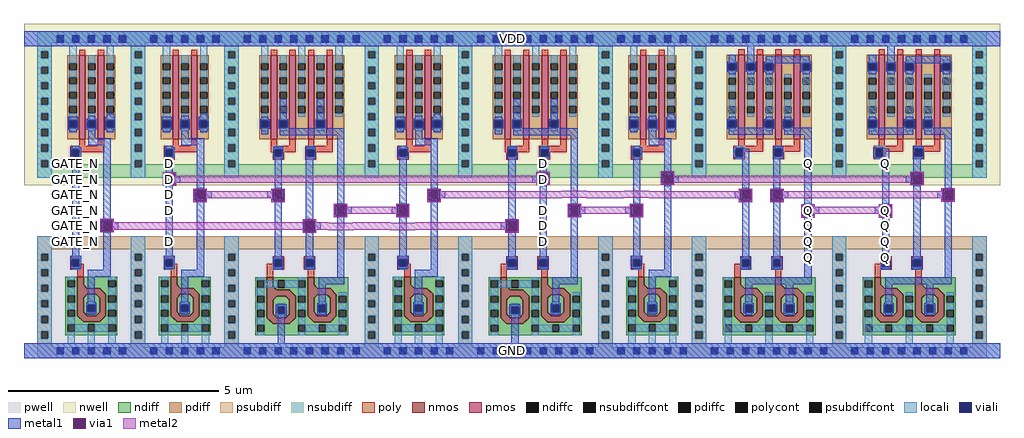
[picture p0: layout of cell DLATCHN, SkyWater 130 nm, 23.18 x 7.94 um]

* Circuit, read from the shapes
.subckt DLATCHN Q D GATE_N VDD GND
XM1 GND GATE_N n1 GND sky130_fd_pr__nfet_01v8 w=2.56 l=0.1471
XM2 GND D n2 GND sky130_fd_pr__nfet_01v8 w=2.56 l=0.1478
XM3 n3 n2 GND GND sky130_fd_pr__nfet_01v8 w=2.6 l=0.148
XM4 n3 n1 n4 GND sky130_fd_pr__nfet_01v8 w=2.56 l=0.1464
XM5 GND n4 n5 GND sky130_fd_pr__nfet_01v8 w=2.56 l=0.1471
XM6 n6 n1 GND GND sky130_fd_pr__nfet_01v8 w=2.6 l=0.148
XM7 n6 D n7 GND sky130_fd_pr__nfet_01v8 w=2.56 l=0.1463
XM8 GND n7 n8 GND sky130_fd_pr__nfet_01v8 w=2.56 l=0.1478
XM9 GND n5 Q GND sky130_fd_pr__nfet_01v8 w=2.56 l=0.1463
XM10 GND n9 Q GND sky130_fd_pr__nfet_01v8 w=2.56 l=0.1465
XM11 GND Q n9 GND sky130_fd_pr__nfet_01v8 w=2.56 l=0.1463
XM12 GND n8 n9 GND sky130_fd_pr__nfet_01v8 w=2.56 l=0.1462
XM13 n1 GATE_N VDD VDD sky130_fd_pr__pfet_01v8 w=2 l=0.15 m=2
XM14 n2 D VDD VDD sky130_fd_pr__pfet_01v8 w=2 l=0.15 m=2
XM15 n4 n2 VDD VDD sky130_fd_pr__pfet_01v8 w=2 l=0.15 m=2
XM16 n4 n1 VDD VDD sky130_fd_pr__pfet_01v8 w=2 l=0.15 m=2
XM17 n5 n4 VDD VDD sky130_fd_pr__pfet_01v8 w=2 l=0.15 m=2
XM18 n7 n1 VDD VDD sky130_fd_pr__pfet_01v8 w=2 l=0.15 m=2
XM19 n7 D VDD VDD sky130_fd_pr__pfet_01v8 w=2 l=0.15 m=2
XM20 n8 n7 VDD VDD sky130_fd_pr__pfet_01v8 w=2 l=0.15 m=2
XM21 VDD n5 n10 VDD sky130_fd_pr__pfet_01v8 w=2 l=0.15 m=2
XM22 Q n9 n10 VDD sky130_fd_pr__pfet_01v8 w=2 l=0.15 m=2
XM23 VDD Q n11 VDD sky130_fd_pr__pfet_01v8 w=2 l=0.15 m=2
XM24 n9 n8 n11 VDD sky130_fd_pr__pfet_01v8 w=2 l=0.15 m=2
.ends

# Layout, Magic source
magic
tech sky130A
magscale 1 2
<< nwell >>
rect 0 822 4636 1588
<< pwell >>
rect 155 19 189 53
rect 64 0 4572 10
<< psubdiff >>
rect 64 0 4572 10
<< nsubdiff >>
rect 64 1550 4572 1552
<< locali >>
rect 0 1482 4636 1552
rect 0 0 4636 70
<< metal1 >>
rect 0 1482 4636 1552
rect 229 907 263 941
rect 673 907 707 941
rect 2449 907 2483 941
rect 3707 907 3741 941
rect 4077 907 4111 941
rect 658 876 722 882
rect 229 833 263 867
rect 658 824 664 876
rect 716 824 722 876
rect 658 818 722 824
rect 2433 879 2497 885
rect 2433 827 2439 879
rect 2491 827 2497 879
rect 2433 821 2497 827
rect 3025 882 3089 888
rect 3025 830 3031 882
rect 3083 830 3089 882
rect 3025 824 3089 830
rect 4209 879 4273 885
rect 4209 827 4215 879
rect 4267 827 4273 879
rect 4209 821 4273 827
rect 805 799 869 805
rect 229 759 263 793
rect 673 759 707 793
rect 805 747 811 799
rect 863 747 869 799
rect 805 741 869 747
rect 1175 799 1239 805
rect 1175 747 1181 799
rect 1233 747 1239 799
rect 1175 741 1239 747
rect 1916 799 1980 805
rect 1916 747 1922 799
rect 1974 747 1980 799
rect 1916 741 1980 747
rect 3395 799 3459 805
rect 3395 747 3401 799
rect 3453 747 3459 799
rect 3395 741 3459 747
rect 3544 799 3608 805
rect 3544 747 3550 799
rect 3602 747 3608 799
rect 3544 741 3608 747
rect 4357 802 4421 808
rect 4357 750 4363 802
rect 4415 750 4421 802
rect 4357 744 4421 750
rect 3691 725 3755 731
rect 229 685 263 719
rect 673 685 707 719
rect 2449 685 2483 719
rect 3691 673 3697 725
rect 3749 673 3755 725
rect 3691 667 3755 673
rect 4061 725 4125 731
rect 4061 673 4067 725
rect 4119 673 4125 725
rect 4061 667 4125 673
rect 362 655 426 661
rect 229 611 263 645
rect 362 603 368 655
rect 420 603 426 655
rect 362 597 426 603
rect 1324 653 1388 659
rect 1324 601 1330 653
rect 1382 601 1388 653
rect 1324 595 1388 601
rect 2285 654 2349 660
rect 2285 602 2291 654
rect 2343 602 2349 654
rect 2449 611 2483 645
rect 3707 611 3741 645
rect 4077 611 4111 645
rect 2285 596 2349 602
rect 229 537 263 571
rect 673 537 707 571
rect 2449 537 2483 571
rect 3707 537 3741 571
rect 4077 537 4111 571
rect 3707 463 3741 497
rect 4077 463 4111 497
rect 0 0 4636 70
<< via1 >>
rect 664 824 716 876
rect 2439 827 2491 879
rect 3031 830 3083 882
rect 4215 827 4267 879
rect 811 747 863 799
rect 1181 747 1233 799
rect 1922 747 1974 799
rect 3401 747 3453 799
rect 3550 747 3602 799
rect 4363 750 4415 802
rect 3697 673 3749 725
rect 4067 673 4119 725
rect 368 603 420 655
rect 1330 601 1382 653
rect 2291 602 2343 654
<< metal2 >>
rect 658 876 722 882
rect 658 824 664 876
rect 716 867 722 876
rect 2433 879 2497 885
rect 2433 867 2439 879
rect 716 833 2439 867
rect 716 824 722 833
rect 658 818 722 824
rect 2433 827 2439 833
rect 2491 827 2497 879
rect 2433 821 2497 827
rect 3025 882 3089 888
rect 3025 830 3031 882
rect 3083 867 3089 882
rect 4209 879 4273 885
rect 4209 867 4215 879
rect 3083 833 4215 867
rect 3083 830 3089 833
rect 3025 824 3089 830
rect 4209 827 4215 833
rect 4267 827 4273 879
rect 4209 821 4273 827
rect 805 799 869 805
rect 805 747 811 799
rect 863 793 869 799
rect 1175 799 1239 805
rect 1175 793 1181 799
rect 863 759 1181 793
rect 863 747 869 759
rect 805 741 869 747
rect 1175 747 1181 759
rect 1233 747 1239 799
rect 1175 741 1239 747
rect 1916 799 1980 805
rect 1916 747 1922 799
rect 1974 793 1980 799
rect 3395 799 3459 805
rect 2554 793 2674 796
rect 2849 793 2969 796
rect 3395 793 3401 799
rect 1974 762 3401 793
rect 1974 759 2554 762
rect 2674 759 2849 762
rect 2969 759 3401 762
rect 1974 747 1980 759
rect 1916 741 1980 747
rect 3395 747 3401 759
rect 3453 747 3459 799
rect 3395 741 3459 747
rect 3544 799 3608 805
rect 3544 747 3550 799
rect 3602 793 3608 799
rect 4357 802 4421 808
rect 4357 793 4363 802
rect 3602 759 4363 793
rect 3602 747 3608 759
rect 3544 741 3608 747
rect 4357 750 4363 759
rect 4415 750 4421 802
rect 4357 744 4421 750
rect 3691 725 3755 731
rect 3691 673 3697 725
rect 3749 719 3755 725
rect 4061 725 4125 731
rect 4061 719 4067 725
rect 3749 685 4067 719
rect 3749 673 3755 685
rect 3691 667 3755 673
rect 4061 673 4067 685
rect 4119 673 4125 725
rect 4061 667 4125 673
rect 362 655 426 661
rect 362 603 368 655
rect 420 645 426 655
rect 1324 653 1388 659
rect 1324 645 1330 653
rect 420 611 1330 645
rect 420 603 426 611
rect 362 597 426 603
rect 1324 601 1330 611
rect 1382 645 1388 653
rect 2285 654 2349 660
rect 2285 645 2291 654
rect 1382 642 1444 645
rect 1564 642 1739 645
rect 1859 642 2291 645
rect 1382 611 2291 642
rect 1382 601 1388 611
rect 1444 608 1564 611
rect 1739 608 1859 611
rect 1324 595 1388 601
rect 2285 602 2291 611
rect 2343 602 2349 654
rect 2285 596 2349 602
use and2x1_pcell  and2x1_pcell_0
transform 1 0 986 0 1 36
box -87 -34 1197 1550
use and2x1_pcell  and2x1_pcell_1
transform 1 0 2096 0 1 36
box -87 -34 1197 1550
use invx1_pcell  invx1_pcell_0
transform 1 0 542 0 1 36
box -87 -34 531 1550
use invx1_pcell  invx1_pcell_1
transform 1 0 98 0 1 36
box -87 -34 531 1550
use li1_M1_contact  li1_M1_contact_0
transform -1 0 1356 0 -1 628
box -53 -33 29 33
use li1_M1_contact  li1_M1_contact_1
transform 1 0 2318 0 1 628
box -53 -33 29 33
use li1_M1_contact  li1_M1_contact_2
transform -1 0 690 0 -1 850
box -53 -33 29 33
use li1_M1_contact  li1_M1_contact_3
transform -1 0 838 0 -1 776
box -53 -33 29 33
use li1_M1_contact  li1_M1_contact_4
transform 1 0 2466 0 1 850
box -53 -33 29 33
use li1_M1_contact  li1_M1_contact_5
transform 1 0 1208 0 1 776
box -53 -33 29 33
use li1_M1_contact  li1_M1_contact_6
transform -1 0 1948 0 -1 776
box -53 -33 29 33
use li1_M1_contact  li1_M1_contact_7
transform 1 0 3428 0 1 776
box -53 -33 29 33
use li1_M1_contact  li1_M1_contact_8
transform 1 0 4242 0 1 850
box -53 -33 29 33
use li1_M1_contact  li1_M1_contact_9
transform -1 0 3058 0 -1 850
box -53 -33 29 33
use li1_M1_contact  li1_M1_contact_10
transform 1 0 4390 0 1 776
box -53 -33 29 33
use li1_M1_contact  li1_M1_contact_11
transform -1 0 3576 0 -1 776
box -53 -33 29 33
use li1_M1_contact  li1_M1_contact_12
transform 1 0 4094 0 1 702
box -53 -33 29 33
use li1_M1_contact  li1_M1_contact_13
transform -1 0 3724 0 -1 702
box -53 -33 29 33
use li1_M1_contact  li1_M1_contact_14
transform -1 0 394 0 -1 628
box -53 -33 29 33
use nor2x1_pcell  nor2x1_pcell_0
transform 1 0 3206 0 1 36
box -87 -34 753 1550
use nor2x1_pcell  nor2x1_pcell_1
transform 1 0 3872 0 1 36
box -87 -34 753 1550
<< labels >>
rlabel metal1 3707 685 3741 719 1 Q
port 1 nsew signal output
rlabel metal1 3707 611 3741 645 1 Q
port 1 nsew signal output
rlabel metal1 3707 537 3741 571 1 Q
port 1 nsew signal output
rlabel metal1 3707 463 3741 497 1 Q
port 1 nsew signal output
rlabel metal1 3707 907 3741 941 1 Q
port 1 nsew signal output
rlabel metal1 4077 463 4111 497 1 Q
port 1 nsew signal output
rlabel metal1 4077 537 4111 571 1 Q
port 1 nsew signal output
rlabel metal1 4077 611 4111 645 1 Q
port 1 nsew signal output
rlabel metal1 4077 685 4111 719 1 Q
port 1 nsew signal output
rlabel metal1 4077 907 4111 941 1 Q
port 1 nsew signal output
rlabel metal1 673 833 707 867 1 D
port 2 nsew signal input
rlabel metal1 673 907 707 941 1 D
port 2 nsew signal input
rlabel metal1 673 759 707 793 1 D
port 2 nsew signal input
rlabel metal1 673 685 707 719 1 D
port 2 nsew signal input
rlabel metal1 673 537 707 571 1 D
port 2 nsew signal input
rlabel metal1 2449 685 2483 719 1 D
port 2 nsew signal input
rlabel metal1 2449 833 2483 867 1 D
port 2 nsew signal input
rlabel metal1 2449 907 2483 941 1 D
port 2 nsew signal input
rlabel metal1 2449 611 2483 645 1 D
port 2 nsew signal input
rlabel metal1 2449 537 2483 571 1 D
port 2 nsew signal input
rlabel metal1 229 611 263 645 1 GATE_N
port 3 nsew signal input
rlabel metal1 229 537 263 571 1 GATE_N
port 3 nsew signal input
rlabel metal1 229 685 263 719 1 GATE_N
port 3 nsew signal input
rlabel metal1 229 759 263 793 1 GATE_N
port 3 nsew signal input
rlabel metal1 229 833 263 867 1 GATE_N
port 3 nsew signal input
rlabel metal1 229 907 263 941 1 GATE_N
port 3 nsew signal input
rlabel metal1 0 1482 4636 1552 1 VDD
port 4 nsew power bidirectional abutment
rlabel metal1 0 0 4636 70 1 GND
port 5 nsew ground bidirectional abutment
<< properties >>
string FIXED_BBOX 0 0 4636 1552
string LEFclass CORE
string LEFsite unitrh
string LEFsymmetry X Y
<< end >>

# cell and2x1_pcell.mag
magic
tech sky130A
magscale 1 2
<< metal1 >>
rect 486 692 550 698
rect 486 640 492 692
rect 544 640 550 692
rect 486 634 550 640
rect 781 692 845 698
rect 781 640 787 692
rect 839 640 845 692
rect 781 634 845 640
<< via1 >>
rect 492 640 544 692
rect 787 640 839 692
<< metal2 >>
rect 486 692 550 698
rect 486 640 492 692
rect 544 683 550 692
rect 781 692 845 698
rect 781 683 787 692
rect 544 649 787 683
rect 544 640 550 649
rect 486 634 550 640
rect 781 640 787 649
rect 839 640 845 692
rect 781 634 845 640
use invx1_pcell  invx1_pcell_0
transform 1 0 666 0 1 0
box -87 -34 531 1550
use li1_M1_contact  li1_M1_contact_0
transform -1 0 518 0 -1 666
box -53 -33 29 33
use li1_M1_contact  li1_M1_contact_1
transform 1 0 814 0 1 666
box -53 -33 29 33
use nand2x1_pcell  nand2x1_pcell_0
transform 1 0 0 0 1 0
box -87 -34 753 1550
<< end >>

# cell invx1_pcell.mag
magic
tech sky130A
magscale 1 2
<< nwell >>
rect -87 786 531 1550
<< pwell >>
rect -34 -34 478 544
<< pdiffc >>
rect 118 1059 152 1093
rect 206 1059 240 1093
rect 294 1059 328 1093
<< psubdiff >>
rect 34 482 410 544
rect 34 -17 57 17
rect 91 -17 131 17
rect 165 -17 205 17
rect 239 -17 279 17
rect 313 -17 353 17
rect 387 -17 410 17
rect 34 -34 410 -17
<< nsubdiff >>
rect 34 1497 410 1514
rect 34 1463 57 1497
rect 91 1463 131 1497
rect 165 1463 205 1497
rect 239 1463 279 1497
rect 313 1463 353 1497
rect 387 1463 410 1497
rect 34 822 410 884
<< psubdiffcont >>
rect 57 -17 91 17
rect 131 -17 165 17
rect 205 -17 239 17
rect 279 -17 313 17
rect 353 -17 387 17
<< nsubdiffcont >>
rect 57 1463 91 1497
rect 131 1463 165 1497
rect 205 1463 239 1497
rect 279 1463 313 1497
rect 353 1463 387 1497
<< poly >>
rect 155 381 185 413
<< locali >>
rect -34 1497 478 1514
rect -34 1463 57 1497
rect 91 1463 131 1497
rect 165 1463 205 1497
rect 239 1463 279 1497
rect 313 1463 353 1497
rect 387 1463 478 1497
rect -34 1446 478 1463
rect 118 1093 152 1117
rect 118 1043 152 1059
rect 206 1093 240 1117
rect 206 1043 240 1059
rect 294 1093 328 1117
rect 294 1043 328 1059
rect 109 34 143 84
rect 205 34 239 90
rect 303 34 337 90
rect -34 17 466 34
rect -34 -17 57 17
rect 91 -17 131 17
rect 165 -17 205 17
rect 239 -17 279 17
rect 313 -17 353 17
rect 387 -17 466 17
rect -34 -34 466 -17
<< viali >>
rect 57 1463 91 1497
rect 131 1463 165 1497
rect 205 1463 239 1497
rect 279 1463 313 1497
rect 353 1463 387 1497
rect 118 1059 152 1093
rect 206 1059 240 1093
rect 294 1059 328 1093
rect 131 923 165 957
rect 131 400 165 434
rect 205 184 239 218
rect 57 -17 91 17
rect 131 -17 165 17
rect 205 -17 239 17
rect 279 -17 313 17
rect 353 -17 387 17
<< metal1 >>
rect -34 1497 478 1514
rect -34 1463 57 1497
rect 91 1463 131 1497
rect 165 1463 205 1497
rect 239 1463 279 1497
rect 313 1463 353 1497
rect 387 1463 478 1497
rect -34 1446 478 1463
rect 112 1093 159 1111
rect 206 1101 240 1115
rect 294 1111 328 1124
rect 112 1059 118 1093
rect 152 1059 159 1093
rect 112 1048 159 1059
rect 200 1093 246 1101
rect 200 1059 206 1093
rect 240 1059 246 1093
rect 200 1048 246 1059
rect 288 1093 335 1111
rect 288 1059 294 1093
rect 328 1059 335 1093
rect 288 1048 335 1059
rect 118 1037 152 1048
rect 206 1009 240 1048
rect 294 1037 328 1048
rect 206 975 313 1009
rect 131 966 165 973
rect 124 957 174 966
rect 124 923 131 957
rect 165 923 174 957
rect 124 916 174 923
rect 131 450 165 916
rect 123 434 173 450
rect 123 400 131 434
rect 165 400 173 434
rect 123 388 173 400
rect 279 385 313 975
rect 205 351 313 385
rect 205 230 239 351
rect 198 218 246 230
rect 198 184 205 218
rect 239 184 246 218
rect 198 172 246 184
rect -34 17 478 34
rect -34 -17 57 17
rect 91 -17 131 17
rect 165 -17 205 17
rect 239 -17 279 17
rect 313 -17 353 17
rect 387 -17 478 17
rect -34 -34 478 -17
use diff_ring_side  diff_ring_side_0
transform 1 0 444 0 1 0
box -87 -34 87 1550
use diff_ring_side  diff_ring_side_1
transform 1 0 0 0 1 0
box -87 -34 87 1550
use nmos_top  nmos_top_0
transform -1 0 345 0 1 74
box 0 0 246 308
use pmos2  pmos2_0
transform 1 0 20 0 1 1404
box 52 -461 352 42
use poly_li1_contact  poly_li1_contact_0
transform 0 1 149 -1 0 941
box -32 -28 34 26
use poly_li1_contact  poly_li1_contact_1
transform 0 -1 147 1 0 416
box -32 -28 34 26
<< end >>

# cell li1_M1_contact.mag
magic
tech sky130A
magscale 1 2
<< locali >>
rect -17 17 17 33
rect -17 -33 17 -17
<< viali >>
rect -17 -17 17 17
<< metal1 >>
rect -23 17 23 23
rect -53 -17 -17 17
rect 17 -17 29 17
rect -23 -23 23 -17
<< end >>

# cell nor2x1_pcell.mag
magic
tech sky130A
magscale 1 2
<< nwell >>
rect 87 786 579 1550
<< pwell >>
rect 34 -34 632 544
<< pdiff >>
rect 141 1043 175 1059
rect 317 1043 351 1050
rect 405 1043 439 1050
<< pdiffc >>
rect 141 1331 175 1365
rect 229 1331 263 1365
rect 317 1331 351 1365
rect 493 1331 527 1365
rect 141 1059 175 1093
rect 317 1059 351 1093
rect 405 1059 439 1093
<< psubdiff >>
rect 34 482 632 544
rect 34 -17 57 17
rect 91 -17 131 17
rect 165 -17 205 17
rect 239 -17 279 17
rect 313 -17 353 17
rect 387 -17 427 17
rect 461 -17 501 17
rect 535 -17 575 17
rect 609 -17 632 17
rect 34 -34 632 -17
<< nsubdiff >>
rect 34 1497 632 1514
rect 34 1463 57 1497
rect 91 1463 131 1497
rect 165 1463 205 1497
rect 239 1463 279 1497
rect 313 1463 353 1497
rect 387 1463 427 1497
rect 461 1463 501 1497
rect 535 1463 575 1497
rect 609 1463 632 1497
rect 34 822 632 884
<< psubdiffcont >>
rect 57 -17 91 17
rect 131 -17 165 17
rect 205 -17 239 17
rect 279 -17 313 17
rect 353 -17 387 17
rect 427 -17 461 17
rect 501 -17 535 17
rect 575 -17 609 17
<< nsubdiffcont >>
rect 57 1463 91 1497
rect 131 1463 165 1497
rect 205 1463 239 1497
rect 279 1463 313 1497
rect 353 1463 387 1497
rect 427 1463 461 1497
rect 501 1463 535 1497
rect 575 1463 609 1497
<< poly >>
rect 168 375 198 413
rect 362 382 392 383
<< locali >>
rect -34 1497 667 1514
rect -34 1463 57 1497
rect 91 1463 131 1497
rect 165 1463 205 1497
rect 239 1463 279 1497
rect 313 1463 353 1497
rect 387 1463 427 1497
rect 461 1463 501 1497
rect 535 1463 575 1497
rect 609 1463 667 1497
rect -34 1446 667 1463
rect 141 1365 175 1405
rect 141 1312 175 1331
rect 229 1365 263 1405
rect 229 1229 263 1331
rect 317 1365 351 1381
rect 317 1229 351 1331
rect 493 1365 527 1381
rect 493 1229 527 1331
rect 141 1093 175 1195
rect 141 1043 175 1059
rect 317 1093 351 1195
rect 317 1043 351 1059
rect 405 1093 439 1195
rect 405 1043 439 1059
rect 122 34 156 157
rect 316 34 350 89
rect 510 34 544 89
rect 33 17 657 34
rect 33 -17 57 17
rect 91 -17 131 17
rect 165 -17 205 17
rect 239 -17 279 17
rect 313 -17 353 17
rect 387 -17 427 17
rect 461 -17 501 17
rect 535 -17 575 17
rect 609 -17 657 17
rect 33 -34 657 -17
<< viali >>
rect 57 1463 91 1497
rect 131 1463 165 1497
rect 205 1463 239 1497
rect 279 1463 313 1497
rect 353 1463 387 1497
rect 427 1463 461 1497
rect 501 1463 535 1497
rect 575 1463 609 1497
rect 141 1331 175 1365
rect 229 1331 263 1365
rect 317 1331 351 1365
rect 493 1331 527 1365
rect 141 1059 175 1093
rect 317 1059 351 1093
rect 405 1059 439 1093
rect 174 924 208 958
rect 360 924 394 958
rect 205 399 239 433
rect 353 399 387 433
rect 219 183 253 217
rect 413 183 447 217
rect 57 -17 91 17
rect 131 -17 165 17
rect 205 -17 239 17
rect 279 -17 313 17
rect 353 -17 387 17
rect 427 -17 461 17
rect 501 -17 535 17
rect 575 -17 609 17
<< metal1 >>
rect 34 1497 632 1514
rect 34 1463 57 1497
rect 91 1463 131 1497
rect 165 1463 205 1497
rect 239 1463 279 1497
rect 313 1463 353 1497
rect 387 1463 427 1497
rect 461 1463 501 1497
rect 535 1463 575 1497
rect 609 1463 632 1497
rect 34 1446 632 1463
rect 141 1372 175 1405
rect 135 1365 181 1372
rect 229 1371 263 1446
rect 317 1375 527 1399
rect 317 1371 533 1375
rect 135 1331 141 1365
rect 175 1331 181 1365
rect 135 1325 181 1331
rect 223 1365 269 1371
rect 223 1331 229 1365
rect 263 1331 269 1365
rect 223 1325 269 1331
rect 311 1365 533 1371
rect 311 1331 317 1365
rect 351 1331 357 1365
rect 141 1313 175 1325
rect 229 1313 263 1325
rect 311 1323 357 1331
rect 484 1331 493 1365
rect 527 1331 533 1365
rect 484 1324 533 1331
rect 317 1313 351 1323
rect 493 1313 527 1324
rect 141 1100 175 1111
rect 135 1093 181 1100
rect 317 1099 351 1111
rect 405 1099 439 1111
rect 135 1059 141 1093
rect 175 1059 181 1093
rect 310 1093 358 1099
rect 310 1059 317 1093
rect 351 1059 358 1093
rect 135 1053 358 1059
rect 397 1093 445 1099
rect 397 1059 405 1093
rect 439 1059 445 1093
rect 141 1025 351 1053
rect 397 1052 535 1059
rect 405 1025 535 1052
rect 162 958 217 964
rect 353 958 401 971
rect 162 924 174 958
rect 208 924 239 958
rect 162 917 239 924
rect 205 443 239 917
rect 353 924 360 958
rect 394 924 401 958
rect 353 912 401 924
rect 353 443 387 912
rect 197 433 246 443
rect 197 399 205 433
rect 239 399 246 433
rect 197 387 246 399
rect 344 433 395 443
rect 344 399 353 433
rect 387 399 395 433
rect 344 387 395 399
rect 501 348 535 1025
rect 219 314 535 348
rect 219 225 253 314
rect 211 217 260 225
rect 413 224 447 314
rect 211 183 219 217
rect 253 183 260 217
rect 211 177 260 183
rect 403 217 456 224
rect 403 183 413 217
rect 447 183 456 217
rect 219 167 253 177
rect 403 176 456 183
rect 413 167 447 176
rect 34 17 632 34
rect 34 -17 57 17
rect 91 -17 131 17
rect 165 -17 205 17
rect 239 -17 279 17
rect 313 -17 353 17
rect 387 -17 427 17
rect 461 -17 501 17
rect 535 -17 575 17
rect 609 -17 632 17
rect 34 -34 632 -17
use diff_ring_side  diff_ring_side_0
transform 1 0 666 0 1 0
box -87 -34 87 1550
use diff_ring_side  diff_ring_side_1
transform 1 0 0 0 1 0
box -87 -34 87 1550
use nmos_top_trim1  nmos_top_trim1_1
transform -1 0 360 0 1 73
box 0 0 248 309
use nmos_top_trim2  nmos_top_trim2_0
transform -1 0 554 0 1 73
box 0 0 248 309
use pmos2_1  pmos2_1_0
transform 1 0 43 0 1 1404
box 52 -460 352 37
use pmos2_1  pmos2_1_1
transform 1 0 219 0 1 1404
box 52 -460 352 37
use poly_li1_contact  poly_li1_contact_0
transform 0 1 192 -1 0 942
box -32 -28 34 26
use poly_li1_contact  poly_li1_contact_1
transform 0 1 223 -1 0 417
box -32 -28 34 26
use poly_li1_contact  poly_li1_contact_2
transform 0 -1 369 1 0 415
box -32 -28 34 26
use poly_li1_contact  poly_li1_contact_3
transform 0 1 378 -1 0 942
box -32 -28 34 26
<< end >>

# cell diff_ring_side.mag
magic
tech sky130A
magscale 1 2
<< nwell >>
rect -87 786 87 1550
<< pwell >>
rect -34 -34 34 544
<< psubdiff >>
rect -34 461 34 544
rect -34 427 -17 461
rect 17 427 34 461
rect -34 387 34 427
rect -34 353 -17 387
rect 17 353 34 387
rect -34 313 34 353
rect -34 279 -17 313
rect 17 279 34 313
rect -34 239 34 279
rect -34 205 -17 239
rect 17 205 34 239
rect -34 165 34 205
rect -34 131 -17 165
rect 17 131 34 165
rect -34 91 34 131
rect -34 57 -17 91
rect 17 57 34 91
rect -34 -34 34 57
<< nsubdiff >>
rect -34 1423 34 1514
rect -34 1389 -17 1423
rect 17 1389 34 1423
rect -34 1349 34 1389
rect -34 1315 -17 1349
rect 17 1315 34 1349
rect -34 1275 34 1315
rect -34 1241 -17 1275
rect 17 1241 34 1275
rect -34 1201 34 1241
rect -34 1167 -17 1201
rect 17 1167 34 1201
rect -34 1127 34 1167
rect -34 1093 -17 1127
rect 17 1093 34 1127
rect -34 1053 34 1093
rect -34 1019 -17 1053
rect 17 1019 34 1053
rect -34 979 34 1019
rect -34 945 -17 979
rect 17 945 34 979
rect -34 905 34 945
rect -34 871 -17 905
rect 17 871 34 905
rect -34 822 34 871
<< psubdiffcont >>
rect -17 427 17 461
rect -17 353 17 387
rect -17 279 17 313
rect -17 205 17 239
rect -17 131 17 165
rect -17 57 17 91
<< nsubdiffcont >>
rect -17 1389 17 1423
rect -17 1315 17 1349
rect -17 1241 17 1275
rect -17 1167 17 1201
rect -17 1093 17 1127
rect -17 1019 17 1053
rect -17 945 17 979
rect -17 871 17 905
<< locali >>
rect -34 1423 34 1514
rect -34 1389 -17 1423
rect 17 1389 34 1423
rect -34 1349 34 1389
rect -34 1315 -17 1349
rect 17 1315 34 1349
rect -34 1275 34 1315
rect -34 1241 -17 1275
rect 17 1241 34 1275
rect -34 1201 34 1241
rect -34 1167 -17 1201
rect 17 1167 34 1201
rect -34 1127 34 1167
rect -34 1093 -17 1127
rect 17 1093 34 1127
rect -34 1053 34 1093
rect -34 1019 -17 1053
rect 17 1019 34 1053
rect -34 979 34 1019
rect -34 945 -17 979
rect 17 945 34 979
rect -34 905 34 945
rect -34 871 -17 905
rect 17 871 34 905
rect -34 822 34 871
rect -34 461 34 544
rect -34 427 -17 461
rect 17 427 34 461
rect -34 387 34 427
rect -34 353 -17 387
rect 17 353 34 387
rect -34 313 34 353
rect -34 279 -17 313
rect 17 279 34 313
rect -34 239 34 279
rect -34 205 -17 239
rect 17 205 34 239
rect -34 165 34 205
rect -34 131 -17 165
rect 17 131 34 165
rect -34 91 34 131
rect -34 57 -17 91
rect 17 57 34 91
rect -34 -34 34 57
<< metal1 >>
rect -34 1446 34 1514
rect -34 -34 34 34
<< end >>

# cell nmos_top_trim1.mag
magic
tech sky130
magscale 1 2
<< nmos >>
tri 146 223 162 239 se
rect 162 223 192 276
tri 56 193 86 223 se
rect 86 193 192 223
rect 56 92 86 193
tri 86 177 102 193 nw
tri 146 177 162 193 ne
tri 86 92 102 108 sw
tri 146 92 162 108 se
rect 162 92 192 193
tri 56 62 86 92 ne
rect 86 62 162 92
tri 162 62 192 92 nw
<< ndiff >>
rect 0 239 162 276
rect 0 223 146 239
tri 146 223 162 239 nw
rect 192 260 248 276
rect 192 226 204 260
rect 238 226 248 260
rect 0 188 56 223
tri 56 193 86 223 nw
rect 0 154 10 188
rect 44 154 56 188
rect 0 120 56 154
rect 0 86 10 120
rect 44 86 56 120
tri 86 177 102 193 se
rect 102 177 146 193
tri 146 177 162 193 sw
rect 86 144 162 177
rect 86 110 107 144
rect 141 110 162 144
rect 86 108 162 110
tri 86 92 102 108 ne
rect 102 92 146 108
tri 146 92 162 108 nw
rect 192 188 248 226
rect 192 154 204 188
rect 238 154 248 188
rect 192 120 248 154
rect 0 62 56 86
tri 56 62 86 92 sw
tri 162 62 192 92 se
rect 192 86 204 120
rect 238 86 248 120
rect 192 62 248 86
rect 0 50 248 62
rect 0 16 10 50
rect 44 16 107 50
rect 141 16 204 50
rect 238 16 248 50
rect 0 0 248 16
<< ndiffc >>
rect 204 226 238 260
rect 10 154 44 188
rect 10 86 44 120
rect 107 110 141 144
rect 204 154 238 188
rect 204 86 238 120
rect 10 16 44 50
rect 107 16 141 50
rect 204 16 238 50
<< poly >>
rect 162 276 192 309
<< locali >>
rect 204 260 238 276
rect 10 188 44 204
rect 204 188 238 226
rect 10 120 44 154
rect 107 144 141 161
rect 107 94 141 110
rect 204 120 238 154
rect 10 50 44 86
rect 204 50 238 86
rect 44 16 107 50
rect 141 16 204 50
rect 10 0 44 16
rect 204 0 238 16
<< end >>

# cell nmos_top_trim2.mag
magic
tech sky130
magscale 1 2
<< nmos >>
tri 146 223 162 239 se
rect 162 223 192 276
tri 56 193 86 223 se
rect 86 193 192 223
rect 56 178 87 193
tri 87 178 102 193 nw
tri 146 178 161 193 ne
rect 161 178 192 193
rect 56 92 86 178
tri 86 92 102 108 sw
tri 146 92 162 108 se
rect 162 92 192 178
tri 56 62 86 92 ne
rect 86 62 162 92
tri 162 62 192 92 nw
<< ndiff >>
rect 0 239 162 276
rect 0 223 146 239
tri 146 223 162 239 nw
rect 0 188 56 223
tri 56 193 86 223 nw
rect 0 154 10 188
rect 44 154 56 188
tri 87 178 102 193 se
rect 102 178 146 193
tri 146 178 161 193 sw
rect 192 188 248 276
rect 0 120 56 154
rect 0 86 10 120
rect 44 86 56 120
rect 86 144 162 178
rect 86 110 107 144
rect 141 110 162 144
rect 86 108 162 110
tri 86 92 102 108 ne
rect 102 92 146 108
tri 146 92 162 108 nw
rect 192 154 204 188
rect 238 154 248 188
rect 192 120 248 154
rect 0 62 56 86
tri 56 62 86 92 sw
tri 162 62 192 92 se
rect 192 86 204 120
rect 238 86 248 120
rect 192 62 248 86
rect 0 50 248 62
rect 0 16 10 50
rect 44 16 107 50
rect 141 16 204 50
rect 238 16 248 50
rect 0 0 248 16
<< ndiffc >>
rect 10 154 44 188
rect 10 86 44 120
rect 107 110 141 144
rect 204 154 238 188
rect 204 86 238 120
rect 10 16 44 50
rect 107 16 141 50
rect 204 16 238 50
<< poly >>
rect 162 276 192 309
<< locali >>
rect 10 188 44 205
rect 204 188 238 205
rect 10 120 44 154
rect 107 144 141 161
rect 107 94 141 110
rect 204 120 238 154
rect 10 50 44 86
rect 204 50 238 86
rect 44 16 107 50
rect 141 16 204 50
rect 10 0 44 16
rect 204 0 238 16
<< end >>

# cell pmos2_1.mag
magic
tech sky130A
magscale 1 2
<< nwell >>
rect 52 -435 352 37
<< pmos >>
rect 144 -399 174 1
rect 232 -399 262 1
<< pdiff >>
rect 88 -107 144 1
rect 88 -141 98 -107
rect 132 -141 144 -107
rect 88 -175 144 -141
rect 88 -209 98 -175
rect 132 -209 144 -175
rect 88 -243 144 -209
rect 88 -277 98 -243
rect 132 -277 144 -243
rect 88 -399 144 -277
rect 174 -107 232 1
rect 174 -141 186 -107
rect 220 -141 232 -107
rect 174 -175 232 -141
rect 174 -209 186 -175
rect 220 -209 232 -175
rect 174 -243 232 -209
rect 174 -277 186 -243
rect 220 -277 232 -243
rect 174 -399 232 -277
rect 262 -107 316 1
rect 262 -141 274 -107
rect 308 -141 316 -107
rect 262 -175 316 -141
rect 262 -209 274 -175
rect 308 -209 316 -175
rect 262 -243 316 -209
rect 262 -277 274 -243
rect 308 -277 316 -243
rect 262 -399 316 -277
<< pdiffc >>
rect 98 -141 132 -107
rect 98 -209 132 -175
rect 98 -277 132 -243
rect 186 -141 220 -107
rect 186 -209 220 -175
rect 186 -277 220 -243
rect 274 -141 308 -107
rect 274 -209 308 -175
rect 274 -277 308 -243
<< poly >>
rect 144 1 174 27
rect 232 1 262 27
rect 144 -430 174 -399
rect 232 -430 262 -399
rect 144 -460 262 -430
<< locali >>
rect 98 -107 132 -91
rect 98 -175 132 -141
rect 98 -243 132 -209
rect 98 -293 132 -277
rect 186 -107 220 -91
rect 186 -175 220 -141
rect 186 -243 220 -209
rect 186 -293 220 -277
rect 274 -107 308 -91
rect 274 -175 308 -141
rect 274 -243 308 -209
rect 274 -293 308 -277
<< end >>

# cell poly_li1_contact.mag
magic
tech sky130
<< poly >>
rect -16 8 17 13
rect -16 -9 -8 8
rect 9 -9 17 8
rect -16 -14 17 -9
<< polycont >>
rect -8 -9 9 8
<< locali >>
rect -16 -9 -8 8
rect 9 -9 17 8
<< end >>

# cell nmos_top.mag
magic
tech sky130
magscale 1 2
<< nmos >>
tri 144 223 160 239 se
rect 160 223 190 276
tri 54 193 84 223 se
rect 84 193 190 223
rect 54 92 84 193
tri 84 177 100 193 nw
tri 144 177 160 193 ne
tri 84 92 100 108 sw
tri 144 92 160 108 se
rect 160 92 190 193
tri 54 62 84 92 ne
rect 84 62 160 92
tri 160 62 190 92 nw
<< ndiff >>
rect 0 260 160 276
rect 0 226 8 260
rect 42 239 160 260
rect 42 226 144 239
rect 0 223 144 226
tri 144 223 160 239 nw
rect 190 260 246 276
rect 190 226 202 260
rect 236 226 246 260
rect 0 188 54 223
tri 54 193 84 223 nw
rect 0 154 8 188
rect 42 154 54 188
rect 0 120 54 154
rect 0 86 8 120
rect 42 86 54 120
tri 84 177 100 193 se
rect 100 177 144 193
tri 144 177 160 193 sw
rect 84 144 160 177
rect 84 110 106 144
rect 140 110 160 144
rect 84 108 160 110
tri 84 92 100 108 ne
rect 100 92 144 108
tri 144 92 160 108 nw
rect 190 188 246 226
rect 190 154 202 188
rect 236 154 246 188
rect 190 120 246 154
rect 0 62 54 86
tri 54 62 84 92 sw
tri 160 62 190 92 se
rect 190 86 202 120
rect 236 86 246 120
rect 190 62 246 86
rect 0 50 246 62
rect 0 16 8 50
rect 42 16 106 50
rect 140 16 202 50
rect 236 16 246 50
rect 0 0 246 16
<< ndiffc >>
rect 8 226 42 260
rect 202 226 236 260
rect 8 154 42 188
rect 8 86 42 120
rect 106 110 140 144
rect 202 154 236 188
rect 202 86 236 120
rect 8 16 42 50
rect 106 16 140 50
rect 202 16 236 50
<< poly >>
rect 160 276 190 308
<< locali >>
rect 8 260 42 276
rect 8 188 42 226
rect 202 260 236 276
rect 202 188 236 226
rect 8 120 42 154
rect 106 144 140 161
rect 106 94 140 110
rect 202 120 236 154
rect 8 50 42 86
rect 202 50 236 86
rect 42 16 106 50
rect 140 16 202 50
rect 8 0 42 16
rect 202 0 236 16
<< end >>

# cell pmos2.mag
magic
tech sky130A
magscale 1 2
<< nwell >>
rect 52 -436 352 36
<< pmos >>
rect 144 -400 174 0
rect 232 -400 262 0
<< pdiff >>
rect 88 -38 144 0
rect 88 -72 98 -38
rect 132 -72 144 -38
rect 88 -106 144 -72
rect 88 -140 98 -106
rect 132 -140 144 -106
rect 88 -174 144 -140
rect 88 -208 98 -174
rect 132 -208 144 -174
rect 88 -242 144 -208
rect 88 -276 98 -242
rect 132 -276 144 -242
rect 88 -400 144 -276
rect 174 -38 232 0
rect 174 -72 186 -38
rect 220 -72 232 -38
rect 174 -106 232 -72
rect 174 -140 186 -106
rect 220 -140 232 -106
rect 174 -174 232 -140
rect 174 -208 186 -174
rect 220 -208 232 -174
rect 174 -242 232 -208
rect 174 -276 186 -242
rect 220 -276 232 -242
rect 174 -400 232 -276
rect 262 -38 316 0
rect 262 -72 274 -38
rect 308 -72 316 -38
rect 262 -106 316 -72
rect 262 -140 274 -106
rect 308 -140 316 -106
rect 262 -174 316 -140
rect 262 -208 274 -174
rect 308 -208 316 -174
rect 262 -242 316 -208
rect 262 -276 274 -242
rect 308 -276 316 -242
rect 262 -400 316 -276
<< pdiffc >>
rect 98 -72 132 -38
rect 98 -140 132 -106
rect 98 -208 132 -174
rect 98 -276 132 -242
rect 186 -72 220 -38
rect 186 -140 220 -106
rect 186 -208 220 -174
rect 186 -276 220 -242
rect 274 -72 308 -38
rect 274 -140 308 -106
rect 274 -208 308 -174
rect 274 -276 308 -242
<< poly >>
rect 144 0 174 26
rect 232 0 262 26
rect 144 -431 174 -400
rect 232 -431 262 -400
rect 144 -461 262 -431
<< locali >>
rect 98 -38 132 42
rect 98 -106 132 -72
rect 98 -174 132 -140
rect 98 -242 132 -208
rect 98 -293 132 -276
rect 186 -38 220 0
rect 186 -106 220 -72
rect 186 -174 220 -140
rect 186 -242 220 -208
rect 186 -293 220 -276
rect 274 -38 308 42
rect 274 -106 308 -72
rect 274 -174 308 -140
rect 274 -242 308 -208
rect 274 -293 308 -276
<< end >>

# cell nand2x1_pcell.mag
magic
tech sky130A
magscale 1 2
<< nwell >>
rect 87 786 579 1550
<< pwell >>
rect 34 542 632 544
rect -31 -30 697 542
rect 34 -34 632 -30
<< pdiff >>
rect 223 1093 269 1100
rect 223 1059 229 1093
rect 263 1059 269 1093
rect 223 1053 269 1059
rect 399 1093 445 1100
rect 399 1059 405 1093
rect 439 1059 445 1093
rect 399 1053 445 1059
<< pdiffc >>
rect 141 1059 175 1093
rect 229 1059 263 1093
rect 405 1059 439 1093
<< psubdiff >>
rect 34 542 632 544
rect 31 482 635 542
rect 31 480 34 482
rect 632 480 635 482
rect 31 -17 57 17
rect 91 -17 131 17
rect 165 -17 205 17
rect 239 -17 279 17
rect 313 -17 353 17
rect 387 -17 427 17
rect 461 -17 501 17
rect 535 -17 575 17
rect 609 -17 635 17
rect 31 -30 635 -17
rect 34 -34 632 -30
<< nsubdiff >>
rect 34 1497 632 1514
rect 34 1463 57 1497
rect 91 1463 131 1497
rect 165 1463 205 1497
rect 239 1463 279 1497
rect 313 1463 353 1497
rect 387 1463 427 1497
rect 461 1463 501 1497
rect 535 1463 575 1497
rect 609 1463 632 1497
rect 34 822 632 884
<< psubdiffcont >>
rect 57 -17 91 17
rect 131 -17 165 17
rect 205 -17 239 17
rect 279 -17 313 17
rect 353 -17 387 17
rect 427 -17 461 17
rect 501 -17 535 17
rect 575 -17 609 17
<< nsubdiffcont >>
rect 57 1463 91 1497
rect 131 1463 165 1497
rect 205 1463 239 1497
rect 279 1463 313 1497
rect 353 1463 387 1497
rect 427 1463 461 1497
rect 501 1463 535 1497
rect 575 1463 609 1497
<< poly >>
rect 168 375 198 413
rect 362 382 392 383
<< locali >>
rect -34 1497 634 1514
rect -34 1463 57 1497
rect 91 1463 131 1497
rect 165 1463 205 1497
rect 239 1463 279 1497
rect 313 1463 353 1497
rect 387 1463 427 1497
rect 461 1463 501 1497
rect 535 1463 575 1497
rect 609 1463 634 1497
rect -34 1446 634 1463
rect 141 1093 175 1122
rect 141 1043 175 1059
rect 229 1093 263 1122
rect 229 1043 263 1059
rect 405 1093 439 1122
rect 405 1043 439 1059
rect 33 17 659 34
rect 33 -17 57 17
rect 91 -17 131 17
rect 165 -17 205 17
rect 239 -17 279 17
rect 313 -17 353 17
rect 387 -17 427 17
rect 461 -17 501 17
rect 535 -17 575 17
rect 609 -17 659 17
rect 33 -34 659 -17
<< viali >>
rect 57 1463 91 1497
rect 131 1463 165 1497
rect 205 1463 239 1497
rect 279 1463 313 1497
rect 353 1463 387 1497
rect 427 1463 461 1497
rect 501 1463 535 1497
rect 575 1463 609 1497
rect 141 1059 175 1093
rect 229 1059 263 1093
rect 405 1059 439 1093
rect 205 923 239 957
rect 359 923 393 957
rect 205 399 239 433
rect 353 399 387 433
rect 219 174 253 208
rect 413 183 447 217
rect 57 -17 91 17
rect 131 -17 165 17
rect 205 -17 239 17
rect 279 -17 313 17
rect 353 -17 387 17
rect 427 -17 461 17
rect 501 -17 535 17
rect 575 -17 609 17
<< metal1 >>
rect -34 1497 700 1514
rect -34 1463 57 1497
rect 91 1463 131 1497
rect 165 1463 205 1497
rect 239 1463 279 1497
rect 313 1463 353 1497
rect 387 1463 427 1497
rect 461 1463 501 1497
rect 535 1463 575 1497
rect 609 1463 700 1497
rect -34 1446 700 1463
rect 141 1100 175 1111
rect 229 1100 263 1196
rect 405 1100 439 1196
rect 135 1093 181 1100
rect 135 1059 141 1093
rect 175 1059 181 1093
rect 135 1053 181 1059
rect 223 1093 269 1100
rect 223 1059 229 1093
rect 263 1059 269 1093
rect 223 1057 269 1059
rect 399 1093 445 1100
rect 399 1059 405 1093
rect 439 1059 445 1093
rect 399 1057 445 1059
rect 223 1053 535 1057
rect 141 1027 175 1053
rect 229 1023 535 1053
rect 199 957 246 969
rect 199 923 205 957
rect 239 923 246 957
rect 199 912 246 923
rect 353 957 399 969
rect 353 923 359 957
rect 393 923 399 957
rect 353 916 399 923
rect 205 441 239 912
rect 353 911 394 916
rect 353 441 387 911
rect 198 433 246 441
rect 198 399 205 433
rect 239 399 246 433
rect 198 387 246 399
rect 347 433 394 441
rect 347 399 353 433
rect 387 399 394 433
rect 347 387 394 399
rect 501 348 535 1023
rect 413 314 535 348
rect 413 224 447 314
rect 209 208 262 220
rect 209 174 219 208
rect 253 174 262 208
rect 209 165 262 174
rect 407 217 453 224
rect 407 183 413 217
rect 447 183 453 217
rect 407 171 453 183
rect 219 34 253 165
rect -34 17 700 34
rect -34 -17 57 17
rect 91 -17 131 17
rect 165 -17 205 17
rect 239 -17 279 17
rect 313 -17 353 17
rect 387 -17 427 17
rect 461 -17 501 17
rect 535 -17 575 17
rect 609 -17 700 17
rect -34 -34 700 -17
use diff_ring_side  diff_ring_side_0
transform 1 0 666 0 1 0
box -87 -34 87 1550
use diff_ring_side  diff_ring_side_1
transform 1 0 0 0 1 0
box -87 -34 87 1550
use nmos_bottom  nmos_bottom_0
transform -1 0 360 0 1 73
box 0 0 248 302
use nmos_top_trim1  nmos_top_trim1_0
transform -1 0 554 0 1 73
box 0 0 248 309
use pmos2  pmos2_0
transform 1 0 43 0 1 1404
box 52 -461 352 42
use pmos2  pmos2_1
transform 1 0 219 0 1 1404
box 52 -461 352 42
use poly_li1_contact  poly_li1_contact_0
transform 0 1 223 -1 0 941
box -32 -28 34 26
use poly_li1_contact  poly_li1_contact_1
transform 0 1 223 -1 0 417
box -32 -28 34 26
use poly_li1_contact  poly_li1_contact_2
transform 0 -1 369 1 0 415
box -32 -28 34 26
use poly_li1_contact  poly_li1_contact_3
transform 0 1 377 -1 0 941
box -32 -28 34 26
<< end >>

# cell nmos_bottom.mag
magic
tech sky130A
magscale 1 2
<< nmos >>
tri 146 215 162 231 se
rect 162 215 192 276
tri 56 185 86 215 se
rect 86 185 192 215
rect 56 84 86 185
tri 86 169 102 185 nw
tri 146 169 162 185 ne
tri 86 84 102 100 sw
tri 146 84 162 100 se
rect 162 84 192 185
tri 56 54 86 84 ne
rect 86 54 162 84
tri 162 54 192 84 nw
<< ndiff >>
rect 0 260 162 276
rect 0 226 10 260
rect 44 226 107 260
rect 141 231 162 260
rect 141 226 146 231
rect 0 215 146 226
tri 146 215 162 231 nw
rect 192 260 248 276
rect 192 226 204 260
rect 238 226 248 260
rect 0 188 56 215
rect 0 154 10 188
rect 44 154 56 188
tri 56 185 86 215 nw
rect 192 188 248 226
rect 0 120 56 154
rect 0 86 10 120
rect 44 86 56 120
rect 0 54 56 86
tri 86 169 102 185 se
rect 102 169 146 185
tri 146 169 162 185 sw
rect 86 135 162 169
rect 86 101 107 135
rect 141 101 162 135
rect 86 100 162 101
tri 86 84 102 100 ne
rect 102 84 146 100
tri 146 84 162 100 nw
rect 192 154 204 188
rect 238 154 248 188
rect 192 120 248 154
rect 192 86 204 120
rect 238 86 248 120
tri 56 54 86 84 sw
tri 162 54 192 84 se
rect 192 54 248 86
rect 0 50 248 54
rect 0 16 10 50
rect 44 16 204 50
rect 238 16 248 50
rect 0 0 248 16
<< ndiffc >>
rect 10 226 44 260
rect 107 226 141 260
rect 204 226 238 260
rect 10 154 44 188
rect 10 86 44 120
rect 107 101 141 135
rect 204 154 238 188
rect 204 86 238 120
rect 10 16 44 50
rect 204 16 238 50
<< poly >>
rect 162 276 192 302
<< locali >>
rect 10 260 44 276
rect 204 260 238 276
rect 44 226 107 260
rect 141 226 204 260
rect 10 188 44 226
rect 10 120 44 154
rect 204 188 238 226
rect 10 50 44 86
rect 107 135 141 151
rect 107 85 141 101
rect 204 120 238 154
rect 10 0 44 16
rect 204 50 238 86
rect 204 0 238 16
<< end >>
